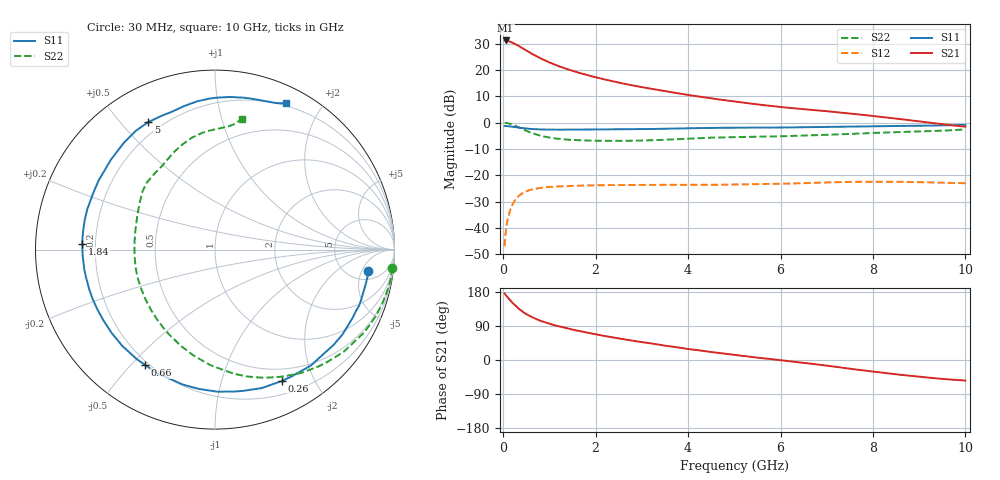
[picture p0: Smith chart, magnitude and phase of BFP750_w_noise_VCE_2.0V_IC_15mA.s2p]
! Infineon Technologies  Discrete & RF Semiconductors
! BFP750
! VCE =  2.0 V,  IC =  15 mA
! Common Emitter S-Parameters:  Jan 2016
# GHz  S  MA  R  50
!  f  S11  S21  S12  S22
! GHz  MAG  ANG  MAG  ANG  MAG  ANG  MAG  ANG
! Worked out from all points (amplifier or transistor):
!   229 points, 30 MHz to 10 GHz, reference 50 ohm
!   highest |S21| = 31.2 dB at 50 MHz (marker M1)
!   |S21| within 3 dB of that: start of sweep to 421.7 MHz
!   unconditionally stable (mu >= 1): 5.027 GHz to end of sweep
!   at 280 MHz: K = 0.09, MSG = 29.3 dB, |S12| = -28.9 dB
!   at 1.78 GHz: K = 0.45, MSG = 21.1 dB, |S12| = -23.9 dB
!   at 10 GHz: K = 1.12, MAG = 8.7 dB, |S12| = -23.0 dB
!   lowest NFmin = 0.69 dB at 450 MHz
!   S11 on the Smith chart (normalised r, x): 30 MHz: 7.26, -6.75; 260 MHz: 0.35, -1.57; 660 MHz: 0.19, -0.55; 1.84 GHz: 0.15, +0.02; 5 GHz: 0.15, +0.60; 10 GHz: 0.18, +1.58
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0.03  0.863 -7.9  36.19 175.3  0.0045 85.7  0.9936 -5.9
0.05  0.8612 -13.2  36.34 171.8  0.0077 84.1  0.9919 -9.9
0.08  0.8615 -21.3  36.02 167.9  0.0122 79.0  0.983 -15.9
0.155  0.8452 -39.8  34.33 157.0  0.0225 69.4  0.9442 -30.3
0.2  0.8381 -50.4  33.03 150.9  0.0279 64.0  0.9154 -38.5
0.26  0.8211 -63.1  31.07 143.8  0.0341 57.5  0.8694 -48.5
0.34  0.8024 -78.7  28.36 135.0  0.0408 50.0  0.8075 -60.8
0.45  0.7817 -96.5  24.86 124.9  0.0475 41.7  0.7303 -75.6
0.6  0.7602 -115.3  20.78 114.3  0.0532 33.3  0.6444 -92.3
0.66  0.7514 -121.3  19.45 111.0  0.0546 30.7  0.6165 -97.8
0.8  0.7449 -133.9  16.77 103.7  0.0574 25.4  0.5674 -110.0
1.08  0.7349 -152.0  13.02 92.7  0.0605 18.4  0.5073 -128.9
1.38  0.7345 -166.2  10.4 83.4  0.0624 13.2  0.4759 -144.3
1.7  0.7385 -178.0  8.537 75.0  0.0637 9.2  0.4603 -157.3
1.84  0.7396 177.6  7.89 71.6  0.0641 7.7  0.4564 -162.1
2.6  0.7466 157.7  5.504 54.9  0.0652 1.3  0.4498 175.4
3.4  0.7622 141.1  4.092 40.0  0.0657 -3.5  0.4686 158.0
5  0.802 117.6  2.518 13.4  0.0666 -9.8  0.5324 135.7
5.1  0.8014 116.4  2.454 12.1  0.0668 -10.2  0.5334 134.5
6.8  0.8255 99.0  1.705 -11.8  0.0722 -16.5  0.5783 115.2
8.4  0.8611 79.4  1.219 -36.3  0.0752 -27.6  0.6541 96.4
10  0.905 64.2  0.837 -54.2  0.0706 -36.5  0.7432 78.3
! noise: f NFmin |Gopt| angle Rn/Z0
0.45  0.69  0.06  7  1.18
0.9  0.7  0.06  10  0.61
1.5  0.71  0.07  107  0.34
1.9  0.73  0.11  148  0.12
2.4  0.79  0.15  -179  0.07
3.5  1.05  0.24  -154  0.05
